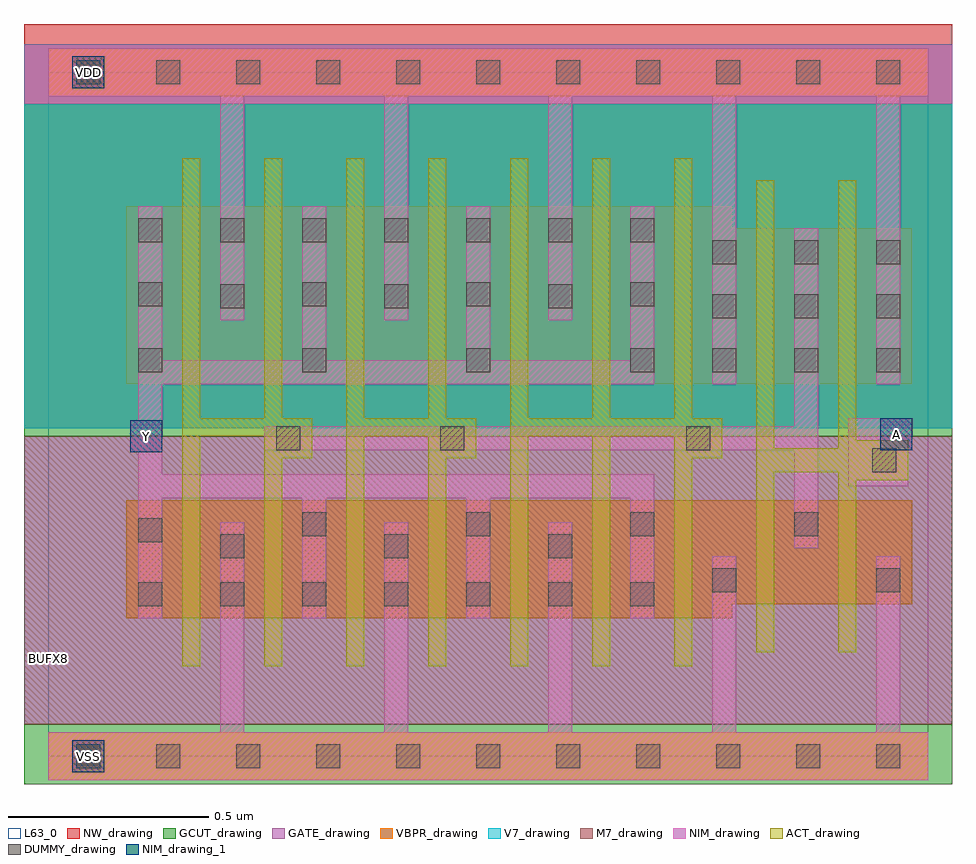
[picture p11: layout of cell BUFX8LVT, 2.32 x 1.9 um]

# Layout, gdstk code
import gdstk
lib = gdstk.Library(unit=1e-6, precision=5e-10)
def R(c, l, rs):  # rectangles x0, y0, x1, y1
    for r in rs: c.add(gdstk.rectangle(r[:2], r[2:], *l))
def A(c, l, x, y, w, h, nx, ny, dx, dy):  # array of equal rectangles
    R(c, l, [(x+i*dx, y+j*dy, x+i*dx+w, y+j*dy+h) for i in range(nx) for j in range(ny)])
def P(c, l, *ps):  # polygons
    for p in ps: c.add(gdstk.Polygon(p, *l))
VBPR_drawing = (1, 0)
NW_drawing = (2, 0)
ACT_drawing = (3, 0)
GATE_drawing = (4, 0)
GCUT_drawing = (5, 0)
DUMMY_drawing = (6, 0)
NIM_drawing = (7, 0)
NIM_drawing_1 = (7, 1)
M7_drawing = (26, 0)
V7_drawing = (27, 0)
L63_0 = (63, 0)

bufx8lvt = lib.new_cell('BUFX8LVT')
R(bufx8lvt, VBPR_drawing, [(0,-0.06,2.2,0.06), (0,1.65,2.2,1.77)])
P(bufx8lvt, VBPR_drawing, [(0.195,1.375),(1.71,1.375),(1.71,1.32),(2.16,1.32),(2.16,0.93),(0.195,0.93)],
  [(0.195,0.64),(2.16,0.64),(2.16,0.38),(1.71,0.38),(1.71,0.345),(0.195,0.345)])
R(bufx8lvt, NW_drawing, [(-0.06,0.82,2.26,1.83)])
P(bufx8lvt, ACT_drawing, [(0.335,1.495),(0.38,1.495),(0.38,0.845),(0.54,0.845),(0.54,1.495),(0.585,1.495),(0.585,0.845),(0.66,0.845),(0.66,0.745),(0.585,0.745),(0.585,0.225),(0.54,0.225),(0.54,0.8),(0.38,0.8),(0.38,0.225),(0.335,0.225)],
  [(0.745,1.495),(0.79,1.495),(0.79,0.845),(0.95,0.845),(0.95,1.495),(0.995,1.495),(0.995,0.845),(1.07,0.845),(1.07,0.745),(0.995,0.745),(0.995,0.225),(0.95,0.225),(0.95,0.8),(0.79,0.8),(0.79,0.225),(0.745,0.225)],
  [(1.155,1.495),(1.2,1.495),(1.2,0.845),(1.36,0.845),(1.36,1.495),(1.405,1.495),(1.405,0.845),(1.565,0.845),(1.565,1.495),(1.61,1.495),(1.61,0.845),(1.685,0.845),(1.685,0.745),(1.61,0.745),(1.61,0.225),(1.565,0.225),(1.565,0.8),(1.405,0.8),(1.405,0.225),(1.36,0.225),(1.36,0.8),(1.2,0.8),(1.2,0.225),(1.155,0.225)],
  [(1.77,1.44),(1.815,1.44),(1.815,0.77),(1.975,0.77),(1.975,1.44),(2.02,1.44),(2.02,0.79),(2.15,0.79),(2.15,0.69),(2.02,0.69),(2.02,0.26),(1.975,0.26),(1.975,0.71),(1.815,0.71),(1.815,0.26),(1.77,0.26)])
R(bufx8lvt, GATE_drawing, [(-0.06,0.08,2.26,0.8), (-0.06,1.63,2.26,1.78)])
R(bufx8lvt, GCUT_drawing, [(-0.06,-0.07,2.26,0.08), (-0.06,0.8,2.26,1.63)])
A(bufx8lvt, DUMMY_drawing, 0.07, -0.03, 0.06, 0.06, 11, 2, 0.2, 1.71)
A(bufx8lvt, DUMMY_drawing, 0.225, 0.375, 0.06, 0.06, 7, 2, 0.205, 0.91)
A(bufx8lvt, DUMMY_drawing, 0.43, 0.495, 0.06, 0.06, 3, 2, 0.41, 0.625)
A(bufx8lvt, DUMMY_drawing, 0.635, 0.55, 0.06, 0.06, 4, 1, 0.41, 0)
A(bufx8lvt, DUMMY_drawing, 0.225, 0.96, 0.06, 0.06, 4, 2, 0.41, 0.165)
A(bufx8lvt, DUMMY_drawing, 1.66, 0.96, 0.06, 0.06, 3, 3, 0.205, 0.135)
R(bufx8lvt, DUMMY_drawing, [(1.66,0.41,1.72,0.47), (2.07,0.41,2.13,0.47), (0.225,0.535,0.285,0.595), (2.06,0.71,2.12,0.77), (0.57,0.765,0.63,0.825), (0.98,0.765,1.04,0.825), (1.595,0.765,1.655,0.825)])
A(bufx8lvt, NIM_drawing, 0.43, 0.06, 0.06, 0.525, 3, 1, 0.41, 0)
A(bufx8lvt, NIM_drawing, 0.43, 1.09, 0.06, 0.56, 3, 1, 0.41, 0)
R(bufx8lvt, NIM_drawing, [(1.66,0.06,1.72,0.5), (2.07,0.06,2.13,0.5), (0.205,0.76,0.25,0.84), (1.66,0.93,1.72,1.65), (2.07,0.93,2.13,1.65)])
P(bufx8lvt, NIM_drawing, [(1.865,1.32),(1.925,1.32),(1.925,0.52),(1.865,0.52),(1.865,0.765),(0.54,0.765),(0.54,0.825),(1.865,0.825)],
  [(2.16,0.845),(2,0.845),(2,0.675),(2.15,0.675),(2.15,0.765),(2.16,0.765)],
  [(0.225,1.375),(0.285,1.375),(0.285,0.99),(0.635,0.99),(0.635,1.375),(0.695,1.375),(0.695,0.99),(1.045,0.99),(1.045,1.375),(1.105,1.375),(1.105,0.99),(1.455,0.99),(1.455,1.375),(1.515,1.375),(1.515,0.93),(0.285,0.93),(0.285,0.705),(1.515,0.705),(1.515,0.345),(1.455,0.345),(1.455,0.645),(1.105,0.645),(1.105,0.345),(1.045,0.345),(1.045,0.645),(0.695,0.645),(0.695,0.345),(0.635,0.345),(0.635,0.645),(0.285,0.645),(0.285,0.345),(0.225,0.345)])
R(bufx8lvt, NIM_drawing_1, [(0.06,-0.04,0.14,0.04), (0.205,0.76,0.285,0.84), (2.08,0.765,2.16,0.845), (0.06,1.67,0.14,1.75)])
R(bufx8lvt, M7_drawing, [(-0.06,0.08,2.26,0.8)])
R(bufx8lvt, V7_drawing, [(-0.06,0.82,2.26,1.63)])
R(bufx8lvt, L63_0, [(0,0,2.2,1.71)])
bufx8lvt.add(gdstk.FlexPath([(0,0),(2.2,0)], 0.12, ends="flush", simple_path=True, layer=7, datatype=0))  # NIM_drawing
bufx8lvt.add(gdstk.FlexPath([(0,1.71),(2.2,1.71)], 0.12, ends="flush", simple_path=True, layer=7, datatype=0))  # NIM_drawing
bufx8lvt.add(gdstk.Label('Y', (0.245,0.8), layer=7, texttype=1))
bufx8lvt.add(gdstk.Label('A', (2.12,0.805), layer=7, texttype=1))
bufx8lvt.add(gdstk.Label('VDD', (0.1,1.71), layer=7, texttype=1))
bufx8lvt.add(gdstk.Label('VSS', (0.1,0), layer=7, texttype=1))
bufx8lvt.add(gdstk.Label('VSS', (0.1,0), layer=7, texttype=1))
bufx8lvt.add(gdstk.Label('VDD', (0.1,1.71), layer=7, texttype=1))
bufx8lvt.add(gdstk.Label('A', (2.12,0.805), layer=7, texttype=1))
bufx8lvt.add(gdstk.Label('Y', (0.245,0.8), layer=7, texttype=1))
bufx8lvt.add(gdstk.Label('BUFX8', (0,0.245), layer=63, texttype=0))

lib.write_gds('BUFX8LVT.gds')
